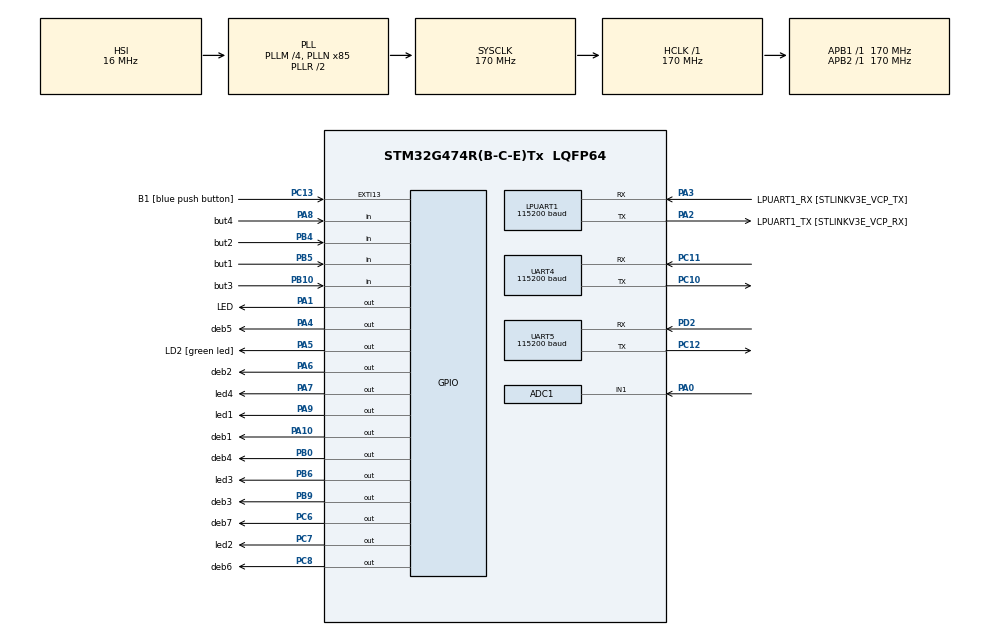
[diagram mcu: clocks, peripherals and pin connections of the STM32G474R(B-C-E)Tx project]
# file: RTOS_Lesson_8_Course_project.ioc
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ADC1.Channel-0\#ChannelRegularConversion=ADC_CHANNEL_1
ADC1.NbrOfConversionFlag=1
ADC1.OffsetNumber-0\#ChannelRegularConversion=ADC_OFFSET_NONE
ADC1.Rank-0\#ChannelRegularConversion=1
ADC1.Resolution=ADC_RESOLUTION_8B
ADC1.SamplingTime-0\#ChannelRegularConversion=ADC_SAMPLETIME_2CYCLES_5
ADC1.master=1
FREERTOS.BinarySemaphores01=myBinarySem01,Dynamic,NULL
FREERTOS.Events01=myEvent01_but,Dynamic,NULL
FREERTOS.Tasks01=myTask01,24,128,Task01_Button,Default,NULL,Dynamic,NULL,NULL;myTask02,24,128,Task02_Led,Default,NULL,Dynamic,NULL,NULL;myTask03,32,128,Task03_Uart,Default,NULL,Dynamic,NULL,NULL;myTask04,24,64,Task04_ADC,Default,NULL,Dynamic,NULL,NULL;myTask05,24,64,Task05_Light,Default,NULL,Dynamic,NULL,NULL
FREERTOS.configGENERATE_RUN_TIME_STATS=1
FREERTOS.configMINIMAL_STACK_SIZE=64
FREERTOS.configTOTAL_HEAP_SIZE=3000
FREERTOS.configUSE_APPLICATION_TASK_TAG=1
FREERTOS.configUSE_DAEMON_TASK_STARTUP_HOOK=0
FREERTOS.configUSE_IDLE_HOOK=1
FREERTOS.configUSE_STATS_FORMATTING_FUNCTIONS=1
LPUART1.BaudRate=115200
LPUART1.WordLength=UART_WORDLENGTH_8B
Mcu.Family=STM32G4
Mcu.Name=STM32G474R(B-C-E)Tx
Mcu.Package=LQFP64
NVIC.EXTI15_10_IRQn=true\:5\:0\:false\:false\:true\:true\:true\:true\:true
NVIC.PriorityGroup=NVIC_PRIORITYGROUP_4
NVIC.UART4_IRQn=true\:5\:0\:false\:false\:true\:true\:true\:true\:true
PA0.Mode=IN1-Single-Ended
PA0.Signal=ADC1_IN1
PA1.GPIO_Label=LED
PA1.Signal=GPIO_Output
PA10.GPIO_Label=deb1
PA10.Signal=GPIO_Output
PA13.GPIO_Label=T_SWDIO
PA13.Mode=Serial_Wire
PA13.Signal=SYS_JTMS-SWDIO
PA14.GPIO_Label=T_SWCLK
PA14.Mode=Serial_Wire
PA14.Signal=SYS_JTCK-SWCLK
PA2.GPIO_Label=LPUART1_TX [STLINKV3E_VCP_RX]
PA2.Mode=Asynchronous
PA2.Signal=LPUART1_TX
PA3.GPIO_Label=LPUART1_RX [STLINKV3E_VCP_TX]
PA3.Mode=Asynchronous
PA3.Signal=LPUART1_RX
PA4.GPIO_Label=deb5
PA4.Signal=GPIO_Output
PA5.GPIO_Label=LD2 [green led]
PA5.Signal=GPIO_Output
PA6.GPIO_Label=deb2
PA6.Signal=GPIO_Output
PA7.GPIO_Label=led4
PA7.Signal=GPIO_Output
PA8.GPIO_Label=but4
PA8.GPIO_PuPd=GPIO_PULLUP
PA8.Signal=GPIO_Input
PA9.GPIO_Label=led1
PA9.Signal=GPIO_Output
PB0.GPIO_Label=deb4
PB0.Signal=GPIO_Output
PB10.GPIO_Label=but3
PB10.GPIO_PuPd=GPIO_PULLUP
PB10.Signal=GPIO_Input
PB3.GPIO_Label=T_SWO
PB3.Signal=SYS_JTDO-SWO
PB4.GPIO_Label=but2
PB4.GPIO_PuPd=GPIO_PULLUP
PB4.Signal=GPIO_Input
PB5.GPIO_Label=but1
PB5.GPIO_PuPd=GPIO_PULLUP
PB5.Signal=GPIO_Input
PB6.GPIO_Label=led3
PB6.Signal=GPIO_Output
PB9.GPIO_Label=deb3
PB9.Signal=GPIO_Output
PC10.Mode=Asynchronous
PC10.Signal=UART4_TX
PC11.Mode=Asynchronous
PC11.Signal=UART4_RX
PC12.Mode=Asynchronous
PC12.Signal=UART5_TX
PC13.GPIO_Label=B1 [blue push button]
PC13.Signal=GPXTI13
PC14-OSC32_IN.Mode=LSE-External-Oscillator
PC14-OSC32_IN.Signal=RCC_OSC32_IN
PC15-OSC32_OUT.Mode=LSE-External-Oscillator
PC15-OSC32_OUT.Signal=RCC_OSC32_OUT
PC6.GPIO_Label=deb7
PC6.Signal=GPIO_Output
PC7.GPIO_Label=led2
PC7.Signal=GPIO_Output
PC8.GPIO_Label=deb6
PC8.Signal=GPIO_Output
PD2.Mode=Asynchronous
PD2.Signal=UART5_RX
PF0-OSC_IN.Mode=HSE-External-Oscillator
PF0-OSC_IN.Signal=RCC_OSC_IN
PF1-OSC_OUT.Mode=HSE-External-Oscillator
PF1-OSC_OUT.Signal=RCC_OSC_OUT
ProjectManager.HeapSize=0x200
ProjectManager.StackSize=0x400
ProjectManager.TargetToolchain=STM32CubeIDE
RCC.ADC12Freq_Value=170000000
RCC.ADC345Freq_Value=170000000
RCC.AHBFreq_Value=170000000
RCC.APB1Freq_Value=170000000
RCC.APB1TimFreq_Value=170000000
RCC.APB2Freq_Value=170000000
RCC.APB2TimFreq_Value=170000000
RCC.CortexFreq_Value=170000000
RCC.EXTERNAL_CLOCK_VALUE=12288000
RCC.HCLKFreq_Value=170000000
RCC.HSE_VALUE=24000000
RCC.HSI48_VALUE=48000000
RCC.HSI_VALUE=16000000
RCC.PLLM=RCC_PLLM_DIV4
RCC.PLLN=85
RCC.RTCClockSelection=RCC_RTCCLKSOURCE_LSE
RCC.SYSCLKFreq_VALUE=170000000
RCC.SYSCLKSource=RCC_SYSCLKSOURCE_PLLCLK
RCC.USBFreq_Value=170000000
RCC.VCOOutputFreq_Value=340000000
UART4.BaudRate=115200
UART4.FIFOMode=FIFOMODE_DISABLE
UART4.MSBFirstParam=UART_ADVFEATURE_MSBFIRST_DISABLE
UART4.Mode=MODE_RX
UART4.OverSampling=UART_OVERSAMPLING_8
UART5.BaudRate=115200
UART5.Mode=MODE_TX
UART5.OverSampling=UART_OVERSAMPLING_8
VP_FREERTOS_VS_CMSIS_V2.Mode=CMSIS_V2
VP_SYS_VS_DBSignals.Mode=DisableDeadBatterySignals
board=NUCLEO-G474RE

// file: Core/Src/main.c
/* USER CODE BEGIN Header */
/**
 ******************************************************************************
 * @file           : main.c
 * @brief          : Main program body
 ******************************************************************************
 * @attention
 *
 * Copyright (c) 2023 STMicroelectronics.
 * All rights reserved.
 *
 * This software is licensed under terms that can be found in the LICENSE file
 * in the root directory of this software component.
 * If no LICENSE file comes with this software, it is provided AS-IS.
 *
 ******************************************************************************
 */
/* USER CODE END Header */
#include "main.h"
#include "cmsis_os.h"

/* USER CODE BEGIN Includes */
#include "event_groups.h"
#include "semphr.h"

/* USER CODE END Includes */

/* USER CODE BEGIN PD */

///// define TASK_DEBUG // в main.h, 109 строка

/* USER CODE END PD */

ADC_HandleTypeDef hadc1;

UART_HandleTypeDef hlpuart1;
UART_HandleTypeDef huart4;
UART_HandleTypeDef huart5;

/* Definitions for myTask01 */
osThreadId_t myTask01Handle;
const osThreadAttr_t myTask01_attributes = {
  .name = "myTask01",
  .priority = (osPriority_t) osPriorityNormal,
  .stack_size = 128 * 4
};
/* Definitions for myTask02 */
osThreadId_t myTask02Handle;
const osThreadAttr_t myTask02_attributes = {
  .name = "myTask02",
  .priority = (osPriority_t) osPriorityNormal,
  .stack_size = 128 * 4
};
/* Definitions for myTask03 */
osThreadId_t myTask03Handle;
const osThreadAttr_t myTask03_attributes = {
  .name = "myTask03",
  .priority = (osPriority_t) osPriorityAboveNormal,
  .stack_size = 128 * 4
};
/* Definitions for myTask04 */
osThreadId_t myTask04Handle;
const osThreadAttr_t myTask04_attributes = {
  .name = "myTask04",
  .priority = (osPriority_t) osPriorityNormal,
  .stack_size = 64 * 4
};
/* Definitions for myTask05 */
osThreadId_t myTask05Handle;
const osThreadAttr_t myTask05_attributes = {
  .name = "myTask05",
  .priority = (osPriority_t) osPriorityNormal,
  .stack_size = 64 * 4
};
/* Definitions for myBinarySem01 */
osSemaphoreId_t myBinarySem01Handle;
const osSemaphoreAttr_t myBinarySem01_attributes = {
  .name = "myBinarySem01"
};
/* Definitions for myEvent01_but */
osEventFlagsId_t myEvent01_butHandle;
const osEventFlagsAttr_t myEvent01_but_attributes = {
  .name = "myEvent01_but"
};
/* USER CODE BEGIN PV */

#define NUMBErOfMUSKS 4 // число битовых масок

volatile uint8_t threshold_uart_bitmaskbbbbllll[2] =
{ 0 }; // защелка(порог включения светодиода) и битовая маска, получаемые с uart ESP32. (из ISR -> в задачи 03 и 05)
uint8_t bitmaskbbbbllll[NUMBErOfMUSKS]; // битовые маски. (из задачи 03 -> в 02)
		// bbbb		llll
		// button№  led№
		// 1234 	1234

volatile uint8_t value = 0; // освещенность с ацп, передаваемая в задачу 05 и на uart в ESP32. (04 -> ISR и 05)

/* USER CODE END PV */

void SystemClock_Config(void);
static void MX_GPIO_Init(void);
static void MX_LPUART1_UART_Init(void);
static void MX_ADC1_Init(void);
static void MX_UART4_Init(void);
static void MX_UART5_Init(void);
void Task01_Button(void *argument);
void Task02_Led(void *argument);
void Task03_Uart(void *argument);
void Task04_ADC(void *argument);
void Task05_Light(void *argument);

int main(void)
{

  /* MCU Configuration--------------------------------------------------------*/

  /* Reset of all peripherals, Initializes the Flash interface and the Systick. */
  HAL_Init();

  /* Configure the system clock */
  SystemClock_Config();

  /* Initialize all configured peripherals */
  MX_GPIO_Init();
  MX_LPUART1_UART_Init();
  MX_ADC1_Init();
  MX_UART4_Init();
  MX_UART5_Init();
  /* USER CODE BEGIN 2 */

#ifdef TASK_DEBUG
  assert_param(1);//#define assert_param(expr) ((expr) ? (void)0U : assert_failed((uint8_t *)__FILE__, __LINE__))
#endif

  //int x = 1;
  //assert_param(x);//#define assert_param(expr) ((expr) ? (void)0U : assert_failed((uint8_t *)__FILE__, __LINE__))
  // нужно самому написать в assert_failed: while(1){}

  //configASSERT(x);//#define configASSERT( x ) if ((x) == 0) {taskDISABLE_INTERRUPTS(); for( ;; );}
  // это использовать в задаче. если пошло не так, то запрет прерываний задач, и в бесконечный цикл

  /* USER CODE END 2 */

  /* Init scheduler */
  osKernelInitialize();

  /* Create the semaphores(s) */
  /* creation of myBinarySem01 */
  myBinarySem01Handle = osSemaphoreNew(1, 1, &myBinarySem01_attributes);

  /* USER CODE BEGIN RTOS_SEMAPHORES */
	/* add semaphores, ... */

#ifdef TASK_DEBUG
	uint32_t heap = xPortGetFreeHeapSize(); // Свободная память heap
#endif

  /* USER CODE END RTOS_SEMAPHORES */

  /* Create the thread(s) */
  /* creation of myTask01 */
  myTask01Handle = osThreadNew(Task01_Button, NULL, &myTask01_attributes);

#ifdef TASK_DEBUG
	uint32_t heap = xPortGetFreeHeapSize(); // Свободная память heap
#endif

  /* creation of myTask02 */
  myTask02Handle = osThreadNew(Task02_Led, NULL, &myTask02_attributes);

#ifdef TASK_DEBUG
	uint32_t heap = xPortGetFreeHeapSize(); // Свободная память heap
#endif

  /* creation of myTask03 */
  myTask03Handle = osThreadNew(Task03_Uart, NULL, &myTask03_attributes);

#ifdef TASK_DEBUG
	uint32_t heap = xPortGetFreeHeapSize(); // Свободная память heap
#endif

  /* creation of myTask04 */
  myTask04Handle = osThreadNew(Task04_ADC, NULL, &myTask04_attributes);

#ifdef TASK_DEBUG
	uint32_t heap = xPortGetFreeHeapSize(); // Свободная память heap
#endif

  /* creation of myTask05 */
  myTask05Handle = osThreadNew(Task05_Light, NULL, &myTask05_attributes);

  /* USER CODE BEGIN RTOS_THREADS */
	/* add threads, ... */

#ifdef TASK_DEBUG
	heap = xPortGetFreeHeapSize(); // Свободная память heap
#endif

  /* USER CODE END RTOS_THREADS */

  /* Create the event(s) */
  /* creation of myEvent01_but */
  myEvent01_butHandle = osEventFlagsNew(&myEvent01_but_attributes);

  /* USER CODE BEGIN RTOS_EVENTS */
	/* add events, ... */

#ifdef TASK_DEBUG
	heap = xPortGetFreeHeapSize(); // Свободная память heap
#endif

  /* USER CODE END RTOS_EVENTS */

  /* Start scheduler */
  osKernelStart();

  /* We should never get here as control is now taken by the scheduler */
  /* Infinite loop */
  /* USER CODE BEGIN WHILE */
	while (1)
	{
		HAL_NVIC_SystemReset();
    /* USER CODE END WHILE */

	}
}

void SystemClock_Config(void)
{
  RCC_OscInitTypeDef RCC_OscInitStruct = {0};
  RCC_ClkInitTypeDef RCC_ClkInitStruct = {0};

  /** Configure the main internal regulator output voltage
  */
  HAL_PWREx_ControlVoltageScaling(PWR_REGULATOR_VOLTAGE_SCALE1_BOOST);

  /** Initializes the RCC Oscillators according to the specified parameters
  * in the RCC_OscInitTypeDef structure.
  */
  RCC_OscInitStruct.OscillatorType = RCC_OSCILLATORTYPE_HSI;
  RCC_OscInitStruct.HSIState = RCC_HSI_ON;
  RCC_OscInitStruct.HSICalibrationValue = RCC_HSICALIBRATION_DEFAULT;
  RCC_OscInitStruct.PLL.PLLState = RCC_PLL_ON;
  RCC_OscInitStruct.PLL.PLLSource = RCC_PLLSOURCE_HSI;
  RCC_OscInitStruct.PLL.PLLM = RCC_PLLM_DIV4;
  RCC_OscInitStruct.PLL.PLLN = 85;
  RCC_OscInitStruct.PLL.PLLP = RCC_PLLP_DIV2;
  RCC_OscInitStruct.PLL.PLLQ = RCC_PLLQ_DIV2;
  RCC_OscInitStruct.PLL.PLLR = RCC_PLLR_DIV2;
  if (HAL_RCC_OscConfig(&RCC_OscInitStruct) != HAL_OK)
  {
    Error_Handler();
  }

  /** Initializes the CPU, AHB and APB buses clocks
  */
  RCC_ClkInitStruct.ClockType = RCC_CLOCKTYPE_HCLK|RCC_CLOCKTYPE_SYSCLK
                              |RCC_CLOCKTYPE_PCLK1|RCC_CLOCKTYPE_PCLK2;
  RCC_ClkInitStruct.SYSCLKSource = RCC_SYSCLKSOURCE_PLLCLK;
  RCC_ClkInitStruct.AHBCLKDivider = RCC_SYSCLK_DIV1;
  RCC_ClkInitStruct.APB1CLKDivider = RCC_HCLK_DIV1;
  RCC_ClkInitStruct.APB2CLKDivider = RCC_HCLK_DIV1;

  if (HAL_RCC_ClockConfig(&RCC_ClkInitStruct, FLASH_LATENCY_4) != HAL_OK)
  {
    Error_Handler();
  }
}

static void MX_ADC1_Init(void)
{

  ADC_MultiModeTypeDef multimode = {0};
  ADC_ChannelConfTypeDef sConfig = {0};

  /** Common config
  */
  hadc1.Instance = ADC1;
  hadc1.Init.ClockPrescaler = ADC_CLOCK_SYNC_PCLK_DIV4;
  hadc1.Init.Resolution = ADC_RESOLUTION_8B;
  hadc1.Init.DataAlign = ADC_DATAALIGN_RIGHT;
  hadc1.Init.GainCompensation = 0;
  hadc1.Init.ScanConvMode = ADC_SCAN_DISABLE;
  hadc1.Init.EOCSelection = ADC_EOC_SINGLE_CONV;
  hadc1.Init.LowPowerAutoWait = DISABLE;
  hadc1.Init.ContinuousConvMode = DISABLE;
  hadc1.Init.NbrOfConversion = 1;
  hadc1.Init.DiscontinuousConvMode = DISABLE;
  hadc1.Init.ExternalTrigConv = ADC_SOFTWARE_START;
  hadc1.Init.ExternalTrigConvEdge = ADC_EXTERNALTRIGCONVEDGE_NONE;
  hadc1.Init.DMAContinuousRequests = DISABLE;
  hadc1.Init.Overrun = ADC_OVR_DATA_PRESERVED;
  hadc1.Init.OversamplingMode = DISABLE;
  if (HAL_ADC_Init(&hadc1) != HAL_OK)
  {
    Error_Handler();
  }

  /** Configure the ADC multi-mode
  */
  multimode.Mode = ADC_MODE_INDEPENDENT;
  if (HAL_ADCEx_MultiModeConfigChannel(&hadc1, &multimode) != HAL_OK)
  {
    Error_Handler();
  }

  /** Configure Regular Channel
  */
  sConfig.Channel = ADC_CHANNEL_1;
  sConfig.Rank = ADC_REGULAR_RANK_1;
  sConfig.SamplingTime = ADC_SAMPLETIME_2CYCLES_5;
  sConfig.SingleDiff = ADC_SINGLE_ENDED;
  sConfig.OffsetNumber = ADC_OFFSET_NONE;
  sConfig.Offset = 0;
  if (HAL_ADC_ConfigChannel(&hadc1, &sConfig) != HAL_OK)
  {
    Error_Handler();
  }

}

static void MX_LPUART1_UART_Init(void)
{

  hlpuart1.Instance = LPUART1;
  hlpuart1.Init.BaudRate = 115200;
  hlpuart1.Init.WordLength = UART_WORDLENGTH_8B;
  hlpuart1.Init.StopBits = UART_STOPBITS_1;
  hlpuart1.Init.Parity = UART_PARITY_NONE;
  hlpuart1.Init.Mode = UART_MODE_TX_RX;
  hlpuart1.Init.HwFlowCtl = UART_HWCONTROL_NONE;
  hlpuart1.Init.OneBitSampling = UART_ONE_BIT_SAMPLE_DISABLE;
  hlpuart1.Init.ClockPrescaler = UART_PRESCALER_DIV1;
  hlpuart1.AdvancedInit.AdvFeatureInit = UART_ADVFEATURE_NO_INIT;
  if (HAL_UART_Init(&hlpuart1) != HAL_OK)
  {
    Error_Handler();
  }
  if (HAL_UARTEx_SetTxFifoThreshold(&hlpuart1, UART_TXFIFO_THRESHOLD_1_8) != HAL_OK)
  {
    Error_Handler();
  }
  if (HAL_UARTEx_SetRxFifoThreshold(&hlpuart1, UART_RXFIFO_THRESHOLD_1_8) != HAL_OK)
  {
    Error_Handler();
  }
  if (HAL_UARTEx_DisableFifoMode(&hlpuart1) != HAL_OK)
  {
    Error_Handler();
  }

}

static void MX_UART4_Init(void)
{

  huart4.Instance = UART4;
  huart4.Init.BaudRate = 115200;
  huart4.Init.WordLength = UART_WORDLENGTH_8B;
  huart4.Init.StopBits = UART_STOPBITS_1;
  huart4.Init.Parity = UART_PARITY_NONE;
  huart4.Init.Mode = UART_MODE_RX;
  huart4.Init.HwFlowCtl = UART_HWCONTROL_NONE;
  huart4.Init.OverSampling = UART_OVERSAMPLING_8;
  huart4.Init.OneBitSampling = UART_ONE_BIT_SAMPLE_DISABLE;
  huart4.Init.ClockPrescaler = UART_PRESCALER_DIV1;
  huart4.AdvancedInit.AdvFeatureInit = UART_ADVFEATURE_NO_INIT;
  if (HAL_UART_Init(&huart4) != HAL_OK)
  {
    Error_Handler();
  }
  if (HAL_UARTEx_SetTxFifoThreshold(&huart4, UART_TXFIFO_THRESHOLD_1_8) != HAL_OK)
  {
    Error_Handler();
  }
  if (HAL_UARTEx_SetRxFifoThreshold(&huart4, UART_RXFIFO_THRESHOLD_1_8) != HAL_OK)
  {
    Error_Handler();
  }
  if (HAL_UARTEx_DisableFifoMode(&huart4) != HAL_OK)
  {
    Error_Handler();
  }

}

static void MX_UART5_Init(void)
{

  huart5.Instance = UART5;
  huart5.Init.BaudRate = 115200;
  huart5.Init.WordLength = UART_WORDLENGTH_8B;
  huart5.Init.StopBits = UART_STOPBITS_1;
  huart5.Init.Parity = UART_PARITY_NONE;
  huart5.Init.Mode = UART_MODE_TX;
  huart5.Init.HwFlowCtl = UART_HWCONTROL_NONE;
  huart5.Init.OverSampling = UART_OVERSAMPLING_8;
  huart5.Init.OneBitSampling = UART_ONE_BIT_SAMPLE_DISABLE;
  huart5.Init.ClockPrescaler = UART_PRESCALER_DIV1;
  huart5.AdvancedInit.AdvFeatureInit = UART_ADVFEATURE_NO_INIT;
  if (HAL_UART_Init(&huart5) != HAL_OK)
  {
    Error_Handler();
  }
  if (HAL_UARTEx_SetTxFifoThreshold(&huart5, UART_TXFIFO_THRESHOLD_1_8) != HAL_OK)
  {
    Error_Handler();
  }
  if (HAL_UARTEx_SetRxFifoThreshold(&huart5, UART_RXFIFO_THRESHOLD_1_8) != HAL_OK)
  {
    Error_Handler();
  }
  if (HAL_UARTEx_DisableFifoMode(&huart5) != HAL_OK)
  {
    Error_Handler();
  }

}

static void MX_GPIO_Init(void)
{
  GPIO_InitTypeDef GPIO_InitStruct = {0};

  /* GPIO Ports Clock Enable */
  __HAL_RCC_GPIOC_CLK_ENABLE();
  __HAL_RCC_GPIOF_CLK_ENABLE();
  __HAL_RCC_GPIOA_CLK_ENABLE();
  __HAL_RCC_GPIOB_CLK_ENABLE();
  __HAL_RCC_GPIOD_CLK_ENABLE();

  /*Configure GPIO pin Output Level */
  HAL_GPIO_WritePin(GPIOA, LED_Pin|deb5_Pin|LD2_Pin|deb2_Pin
                          |led4_Pin|led1_Pin|deb1_Pin, GPIO_PIN_RESET);

  /*Configure GPIO pin Output Level */
  HAL_GPIO_WritePin(GPIOB, deb4_Pin|led3_Pin|deb3_Pin, GPIO_PIN_RESET);

  /*Configure GPIO pin Output Level */
  HAL_GPIO_WritePin(GPIOC, deb7_Pin|led2_Pin|deb6_Pin, GPIO_PIN_RESET);

  /*Configure GPIO pin : B1_Pin */
  GPIO_InitStruct.Pin = B1_Pin;
  GPIO_InitStruct.Mode = GPIO_MODE_IT_RISING;
  GPIO_InitStruct.Pull = GPIO_NOPULL;
  HAL_GPIO_Init(B1_GPIO_Port, &GPIO_InitStruct);

  /*Configure GPIO pins : LED_Pin deb5_Pin LD2_Pin deb2_Pin
                           led4_Pin led1_Pin deb1_Pin */
  GPIO_InitStruct.Pin = LED_Pin|deb5_Pin|LD2_Pin|deb2_Pin
                          |led4_Pin|led1_Pin|deb1_Pin;
  GPIO_InitStruct.Mode = GPIO_MODE_OUTPUT_PP;
  GPIO_InitStruct.Pull = GPIO_NOPULL;
  GPIO_InitStruct.Speed = GPIO_SPEED_FREQ_LOW;
  HAL_GPIO_Init(GPIOA, &GPIO_InitStruct);

  /*Configure GPIO pins : deb4_Pin led3_Pin deb3_Pin */
  GPIO_InitStruct.Pin = deb4_Pin|led3_Pin|deb3_Pin;
  GPIO_InitStruct.Mode = GPIO_MODE_OUTPUT_PP;
  GPIO_InitStruct.Pull = GPIO_NOPULL;
  GPIO_InitStruct.Speed = GPIO_SPEED_FREQ_LOW;
  HAL_GPIO_Init(GPIOB, &GPIO_InitStruct);

  /*Configure GPIO pins : but3_Pin but2_Pin but1_Pin */
  GPIO_InitStruct.Pin = but3_Pin|but2_Pin|but1_Pin;
  GPIO_InitStruct.Mode = GPIO_MODE_INPUT;
  GPIO_InitStruct.Pull = GPIO_PULLUP;
  HAL_GPIO_Init(GPIOB, &GPIO_InitStruct);

  /*Configure GPIO pins : deb7_Pin led2_Pin deb6_Pin */
  GPIO_InitStruct.Pin = deb7_Pin|led2_Pin|deb6_Pin;
  GPIO_InitStruct.Mode = GPIO_MODE_OUTPUT_PP;
  GPIO_InitStruct.Pull = GPIO_NOPULL;
  GPIO_InitStruct.Speed = GPIO_SPEED_FREQ_LOW;
  HAL_GPIO_Init(GPIOC, &GPIO_InitStruct);

  /*Configure GPIO pin : but4_Pin */
  GPIO_InitStruct.Pin = but4_Pin;
  GPIO_InitStruct.Mode = GPIO_MODE_INPUT;
  GPIO_InitStruct.Pull = GPIO_PULLUP;
  HAL_GPIO_Init(but4_GPIO_Port, &GPIO_InitStruct);

  /* EXTI interrupt init*/
  HAL_NVIC_SetPriority(EXTI15_10_IRQn, 5, 0);
  HAL_NVIC_EnableIRQ(EXTI15_10_IRQn);

}

/* USER CODE BEGIN 4 */

///// HAL_PWR_EnterSLEEPMode(PWR_MAINREGULATOR_ON, PWR_SLEEPENTRY_WFI); // Сон, vApplicationIdleHook в app_freertos.c

void HAL_UART_RxCpltCallback(UART_HandleTypeDef *huart)
{
#ifdef TASK_DEBUG
	GPIOC->BSRR = GPIO_PIN_6; ///// Отладка. Вывод момента входа/выхода из прерывания на порты ввода/вывода МК
#endif

	HAL_UART_Transmit(&huart5, (uint8_t*) &value, sizeof(value), 0);
	huart->RxXferCount = 0U; // UART Rx Transfer Counter. Защита от глюков в Нуклео при внезапной перезагрузке ESP32
	HAL_UART_Receive_IT(&huart4, (uint8_t*) threshold_uart_bitmaskbbbbllll, 2);

	BaseType_t pxHigherPriorityTaskWoken = pdTRUE;
	xSemaphoreGiveFromISR(myBinarySem01Handle, &pxHigherPriorityTaskWoken);
	portYIELD_FROM_ISR(pxHigherPriorityTaskWoken); // вызываем запрос на досрочное (до очередного тика) переключения контекста на более приоритетную задачу Task03_Uart

#ifdef TASK_DEBUG
	GPIOC->BSRR = (uint32_t) GPIO_PIN_6 << 16U; ///// Отладка. Вывод момента входа/выхода из прерывания на порты ввода/вывода МК
#endif
}

///// Отладка. Вывод момента входа/выхода из задачи на порты ввода/вывода МК
#ifdef TASK_DEBUG

void TaskSwitchedIn(int tag)
{
	switch (tag)
	{
	case 1: // Task01
		GPIOA->BSRR = GPIO_PIN_10;
		break;
	case 2: // Task02
		GPIOA->BSRR = GPIO_PIN_6;
		break;
	case 3:
		GPIOB->BSRR = GPIO_PIN_9;
		break;
	case 4:
		GPIOB->BSRR = GPIO_PIN_0;
		break;
	case 5:
		GPIOA->BSRR = GPIO_PIN_4;
		break;
	default:
		;
	}
}

void TaskSwitchedOut(int tag)
{
	switch (tag)
	{
	case 1:
		GPIOA->BSRR = (uint32_t) GPIO_PIN_10 << 16U;
		break;
	case 2:
		GPIOA->BSRR = (uint32_t) GPIO_PIN_6 << 16U;
		break;
	case 3:
		GPIOB->BSRR = (uint32_t) GPIO_PIN_9 << 16U;
		break;
	case 4:
		GPIOB->BSRR = (uint32_t) GPIO_PIN_0 << 16U;
		break;
	case 5:
		GPIOA->BSRR = (uint32_t) GPIO_PIN_4 << 16U;
		break;
	default:
		;
	}
}

#endif

//#ifdef DEBUG
//#endif

/* USER CODE END 4 */

void Task01_Button(void *argument)
{
  /* USER CODE BEGIN 5 */
	uint8_t ButCount1;
	uint8_t ButCount2;
	uint8_t ButCount3;
	uint8_t ButCount4;

#ifdef TASK_DEBUG
	vTaskSetApplicationTaskTag(NULL, (void*) 1); ///// Отладка. Вывод момента входа/выхода из задачи на порты ввода/вывода МК
#endif

	/* Infinite loop */
	for (;;)
	{
		// Антидребезг
		ButCount1 = (ButCount1 << 1) + !HAL_GPIO_ReadPin(GPIOB, GPIO_PIN_5); // исх = 1, нажали кнопку1 = 0
		ButCount2 = (ButCount2 << 1) + !HAL_GPIO_ReadPin(GPIOB, GPIO_PIN_4); // исх = 1, нажали кнопку2 = 0
		ButCount3 = (ButCount3 << 1) + !HAL_GPIO_ReadPin(GPIOB, GPIO_PIN_10); // исх = 1,нажали кнопку3 = 0
		ButCount4 = (ButCount4 << 1) + !HAL_GPIO_ReadPin(GPIOA, GPIO_PIN_8); // исх = 1, нажали кнопку4 = 0

		if (ButCount1 == 0b00011111) // кнопка была нажата в течение 40 мс
		{
			xEventGroupSetBits(myEvent01_butHandle, 0x08); // 1000
		}
		if (ButCount2 == 0b00011111)
		{
			xEventGroupSetBits(myEvent01_butHandle, 0x04); // 0100
		}
		if (ButCount3 == 0b00011111)
		{
			xEventGroupSetBits(myEvent01_butHandle, 0x02); // 0010
		}
		if (ButCount4 == 0b00011111)
		{
			xEventGroupSetBits(myEvent01_butHandle, 0x01); // 0001
		}

		osDelay(10); // опрашиваем кнопки каждые 10 мс
	}
	vTaskDelete(NULL);
  /* USER CODE END 5 */
}

void Task02_Led(void *argument)
{
  /* USER CODE BEGIN Task02_Led */

	int8_t number; // переменная для номера сработавшей битовой маски
	uint8_t copy_bitmaskbbbbllll; // переменная для битовой маски, чтобы не попортить
	EventBits_t cnt;

#ifdef TASK_DEBUG
	vTaskSetApplicationTaskTag(NULL, (void*) 2);
#endif

	//bitmaskbbbbllll[0] = 0b10011001; // 1001 1001 BIN = 153 DEC
	//bitmaskbbbbllll[1] = 0b10000101; // 1000 0101 = 133
	//bitmaskbbbbllll[2] = 0b01000001; // 0100 0001 = 65
	//bitmaskbbbbllll[3] = 0b00110011; // 0011 0011 = 51

	/* Infinite loop */
	for (;;)
	{

		cnt = xEventGroupWaitBits(myEvent01_butHandle, 0b1111, pdTRUE, pdFALSE,
				0); // ждем нажатие любой кнопки
		number = 0;

		for (int i = 0; i < NUMBErOfMUSKS; i++)
		{
			copy_bitmaskbbbbllll = bitmaskbbbbllll[i]; // копируем 1-ую, 2, 3 или 4-ую битовые маски, полученные с сервера

			copy_bitmaskbbbbllll >>= 4; // выбираем 4 старших бита маски (соответствующей нажатым кнопкам)

			///// если нажатые клавиши совпадают с битовой маской и битовая маска не равна нулю, то включаем соответствующие леды

			//if ((cnt == (copy_bitmaskbbbbllll >>= 4)) && (copy_bitmaskbbbbllll)) //bbbb copy_bitmaskbbbbllll >> 4
			if (((cnt & copy_bitmaskbbbbllll) == copy_bitmaskbbbbllll)
					&& copy_bitmaskbbbbllll)
			{
				number = i + 1;
			}
		}

		if (number)
		{
			copy_bitmaskbbbbllll = bitmaskbbbbllll[number - 1];

			///// Разные варианты реализации
			//copy_bitmaskbbbbllll <<= 4;
			//copy_bitmaskbbbbllll >>= 7; // выбираем 4 младших бита битовой маски
			//copy_bitmaskbbbbllll &= 4; // выбираем 1-ый из 4-х младших бита битовой маски
			//HAL_GPIO_WritePin(led1_GPIO_Port, led1_Pin, copy_bitmaskbbbbllll);
			//HAL_GPIO_WritePin(led1_GPIO_Port, led1_Pin, (copy_bitmaskbbbbllll &= 4));

			HAL_GPIO_WritePin(led1_GPIO_Port, led1_Pin,
					(copy_bitmaskbbbbllll & (1 << 3))); // выбираем 1-ый из 4-х младших бит битовой маски
			HAL_GPIO_WritePin(led2_GPIO_Port, led2_Pin,
					(copy_bitmaskbbbbllll & (1 << 2)));
			HAL_GPIO_WritePin(led3_GPIO_Port, led3_Pin,
					(copy_bitmaskbbbbllll & (1 << 1)));
			HAL_GPIO_WritePin(led4_GPIO_Port, led4_Pin,
					(copy_bitmaskbbbbllll & 1));
		}

		vTaskDelay(700); // для успевания нажатия сразу на несколько кнопок!
	}
	vTaskDelete(NULL);
  /* USER CODE END Task02_Led */
}

void Task03_Uart(void *argument)
{
  /* USER CODE BEGIN Task03_Uart */

	HAL_UART_Receive_IT(&huart4, (uint8_t*) threshold_uart_bitmaskbbbbllll, 2);

	uint8_t old_uart_bitmaskbbbbllll = 0;
	uint8_t counter = 0; // счетчик для записи маски с uart в маски локальные

#ifdef TASK_DEBUG
	vTaskSetApplicationTaskTag(NULL, (void*) 3);
#endif

	/* Infinite loop */
	for (;;)
	{
		xSemaphoreTake(myBinarySem01Handle, portMAX_DELAY);

		if (threshold_uart_bitmaskbbbbllll[1] != old_uart_bitmaskbbbbllll)
		{
			bitmaskbbbbllll[counter] = threshold_uart_bitmaskbbbbllll[1];
			old_uart_bitmaskbbbbllll = threshold_uart_bitmaskbbbbllll[1];
			counter++;
		}
		if (counter == 4)
		{
			counter = 0;
		}

	}
	vTaskDelete(NULL);
  /* USER CODE END Task03_Uart */
}

void Task04_ADC(void *argument)
{
  /* USER CODE BEGIN Task04_ADC */

#ifdef TASK_DEBUG
	vTaskSetApplicationTaskTag(NULL, (void*) 4);
#endif

	/* Infinite loop */
	for (;;)
	{
		//taskENTER_CRITICAL();
		HAL_ADC_Start(&hadc1);
		HAL_ADC_PollForConversion(&hadc1, 10);
		value = HAL_ADC_GetValue(&hadc1);
		HAL_ADC_Stop(&hadc1);
		//taskEXIT_CRITICAL();

		osDelay(20);
	}
	vTaskDelete(NULL);
  /* USER CODE END Task04_ADC */
}

void Task05_Light(void *argument)
{
  /* USER CODE BEGIN Task05_Light */

	uint8_t threshold = 150;
	uint8_t old_threshold = 0;

#ifdef TASK_DEBUG
	vTaskSetApplicationTaskTag(NULL, (void*) 5);
#endif

	/* Infinite loop */
	for (;;)
	{

		if (threshold_uart_bitmaskbbbbllll[0] != old_threshold)
		{
			threshold = threshold_uart_bitmaskbbbbllll[0];
			old_threshold = threshold_uart_bitmaskbbbbllll[0];
		}

		if (value > threshold) // освещенное помещение
		{
			HAL_GPIO_WritePin(GPIOA, LED_Pin, 0); // LED не горит
		}
		else // темное помещение
		{
			HAL_GPIO_WritePin(GPIOA, LED_Pin, 1); // LED горит
		}

		osDelay(20);
	}
	vTaskDelete(NULL);
  /* USER CODE END Task05_Light */
}

void Error_Handler(void)
{
	__disable_irq();
	while (1)
	{
	}
}

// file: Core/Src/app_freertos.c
/* USER CODE BEGIN Header */
/**
  ******************************************************************************
  * File Name          : app_freertos.c
  * Description        : Code for freertos applications
  ******************************************************************************
  * @attention
  *
  * Copyright (c) 2023 STMicroelectronics.
  * All rights reserved.
  *
  * This software is licensed under terms that can be found in the LICENSE file
  * in the root directory of this software component.
  * If no LICENSE file comes with this software, it is provided AS-IS.
  *
  ******************************************************************************
  */
/* USER CODE END Header */

#include "FreeRTOS.h"
#include "task.h"
#include "main.h"

/* Hook prototypes */
void configureTimerForRunTimeStats(void);
unsigned long getRunTimeCounterValue(void);
void vApplicationIdleHook(void);

/* USER CODE BEGIN 1 */
/* Functions needed when configGENERATE_RUN_TIME_STATS is on */
__weak void configureTimerForRunTimeStats(void)
{

}

__weak unsigned long getRunTimeCounterValue(void)
{
return 0;
}
/* USER CODE END 1 */

/* USER CODE BEGIN 2 */
void vApplicationIdleHook( void )
{

	HAL_PWR_EnterSLEEPMode(PWR_MAINREGULATOR_ON, PWR_SLEEPENTRY_WFI); // Спим 1 мс

	/* vApplicationIdleHook() will only be called if configUSE_IDLE_HOOK is set
   to 1 in FreeRTOSConfig.h. It will be called on each iteration of the idle
   task. It is essential that code added to this hook function never attempts
   to block in any way (for example, call xQueueReceive() with a block time
   specified, or call vTaskDelay()). If the application makes use of the
   vTaskDelete() API function (as this demo application does) then it is also
   important that vApplicationIdleHook() is permitted to return to its calling
   function, because it is the responsibility of the idle task to clean up
   memory allocated by the kernel to any task that has since been deleted. */
}
/* USER CODE END 2 */
